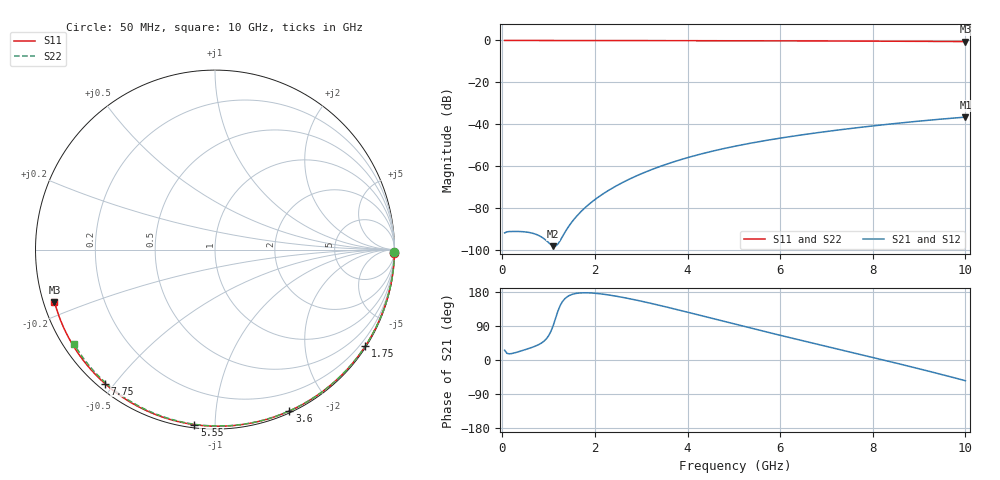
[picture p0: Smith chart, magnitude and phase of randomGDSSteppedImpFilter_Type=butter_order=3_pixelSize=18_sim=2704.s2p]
! freq	dB(S11)	phase(S11)	dB(S12)	phase(S12)
!  dB(S21)	phase(S21)	dB(S22)	phase(S22)
!S-par simulation data
#  GHz  S  DB  R 50
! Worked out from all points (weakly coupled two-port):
!   200 points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, 50 MHz to 10 GHz, reference 50 ohm
!   highest |S21| = -36.66 dB at 10 GHz (marker M1); lowest = -98.4 dB at 1.1 GHz (marker M2)
!   lowest |S11| = -0.5 dB at 10 GHz (marker M3), VSWR 32.68, Z = 1.57 - j7.94 ohm
!   |S11| at or under -10 dB: nowhere
!   |S22| runs from -0.5 to 0.0 dB; largest |S21 - S12| = 0
!   S11 on the Smith chart (normalised r, x): 50 MHz: open; 1.75 GHz: 0.03, -3.41; 3.6 GHz: 0.02, -1.56; 5.55 GHz: 0.02, -0.89; 7.75 GHz: 0.02, -0.47; 10 GHz: 0.03, -0.16
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0.05  -0.00 -1.0  -92.05 25.9  -92.05 25.9  -0.00 -0.9
0.55  -0.01 -10.4  -91.72 29.5  -91.72 29.5  -0.01 -9.3
1.1  -0.03 -20.7  -98.38 91.1  -98.38 91.1  -0.02 -18.6
1.75  -0.04 -32.7  -80.75 177.4  -80.75 177.4  -0.04 -29.3
1.8  -0.04 -33.6  -79.73 177.4  -79.73 177.4  -0.04 -30.1
1.95  -0.05 -36.3  -76.95 176.6  -76.95 176.6  -0.04 -32.6
2.1  -0.05 -39.0  -74.50 174.9  -74.50 174.9  -0.05 -35.0
2.3  -0.05 -42.6  -71.62 171.6  -71.62 171.6  -0.05 -38.3
2.5  -0.06 -46.2  -69.08 167.5  -69.08 167.5  -0.05 -41.5
2.9  -0.07 -53.2  -64.74 157.9  -64.74 157.9  -0.06 -47.9
3.4  -0.08 -61.8  -60.31 144.1  -60.31 144.1  -0.07 -55.7
3.6  -0.09 -65.2  -58.78 138.2  -58.78 138.2  -0.08 -58.8
3.95  -0.10 -71.1  -56.37 127.7  -56.37 127.7  -0.09 -64.1
4.3  -0.11 -76.8  -54.24 116.9  -54.24 116.9  -0.10 -69.4
5.05  -0.14 -88.9  -50.46 93.8  -50.46 93.8  -0.12 -80.4
5.55  -0.16 -96.7  -48.38 78.7  -48.38 78.7  -0.14 -87.5
6.1  -0.19 -105.1  -46.37 62.2  -46.37 62.2  -0.17 -95.2
6.7  -0.22 -114.0  -44.43 44.6  -44.43 44.6  -0.20 -103.3
7.75  -0.30 -129.4  -41.50 14.1  -41.50 14.1  -0.27 -117.3
8.35  -0.35 -138.0  -40.03 -3.6  -40.03 -3.6  -0.32 -125.1
9.2  -0.44 -150.2  -38.16 -29.3  -38.16 -29.3  -0.40 -136.0
10  -0.53 -161.9  -36.66 -54.6  -36.66 -54.6  -0.49 -146.2
